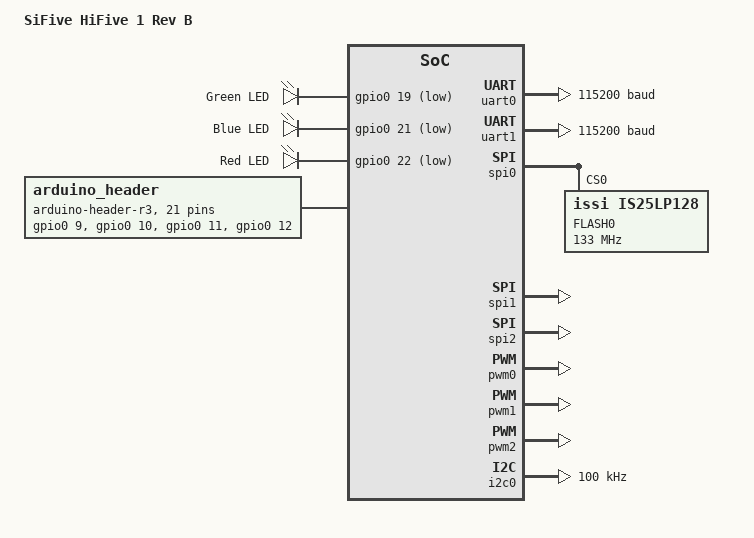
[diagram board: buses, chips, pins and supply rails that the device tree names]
/* Copyright (c) 2019 SiFive, Inc. */
/* SPDX-License-Identifier: Apache-2.0 */

/dts-v1/;

#include <sifive/riscv32-fe310.dtsi>
#include <zephyr/dt-bindings/i2c/i2c.h>
#include "hifive1_revb-pinctrl.dtsi"

/ {
	model = "SiFive HiFive 1 Rev B";
	compatible = "sifive,hifive1-revb";

	aliases {
		led0 = &led0;
		led1 = &led1;
		led2 = &led2;
		watchdog0 = &wdog0;
	};

	chosen {
		zephyr,console = &uart0;
		zephyr,shell-uart = &uart0;
		zephyr,sram = &dtim;
		zephyr,flash = &flash0;
	};

	leds {
		compatible = "gpio-leds";
		led0: led_0 {
			gpios = <&gpio0 19 GPIO_ACTIVE_LOW>;
			label = "Green LED";
		};
		led1: led_1 {
			gpios = <&gpio0 21 GPIO_ACTIVE_LOW>;
			label = "Blue LED";
		};
		led2: led_2 {
			gpios = <&gpio0 22 GPIO_ACTIVE_LOW>;
			label = "Red LED";
		};
	};

	arduino_header: connector {
		compatible = "arduino-header-r3";
		#gpio-cells = <2>;
		gpio-map-mask = <0xffffffff 0xffffffc0>;
		gpio-map-pass-thru = <0 0x3f>;
		gpio-map = /* A0 not connected */
			   <1 0 &gpio0 9 0>,	/* A1, also CS2 */
			   <2 0 &gpio0 10 0>,	/* A2, also WF_INT */
			   <3 0 &gpio0 11 0>,	/* A3 */
			   <4 0 &gpio0 12 0>,	/* A4 */
			   <5 0 &gpio0 13 0>,	/* A5 */
			   <6 0 &gpio0 16 0>,	/* D0, also TX */
			   <7 0 &gpio0 17 0>,	/* D1, also RX */
			   <8 0 &gpio0 18 0>,	/* D2 */
			   <9 0 &gpio0 19 0>,	/* D3 */
			   <10 0 &gpio0 20 0>,	/* D4 */
			   <11 0 &gpio0 21 0>,	/* D5 */
			   <12 0 &gpio0 22 0>,	/* D6 */
			   <13 0 &gpio0 23 0>,	/* D7 */
			   <14 0 &gpio0 0 0>,	/* D8 */
			   <15 0 &gpio0 1 0>,	/* D9 */
			   <16 0 &gpio0 2 0>,	/* D10 */
			   <17 0 &gpio0 3 0>,	/* D11, also MOSI */
			   <18 0 &gpio0 4 0>,	/* D12, also MISO */
			   <19 0 &gpio0 5 0>,	/* D13, also SCK */
			   <20 0 &gpio0 12 0>,	/* D14, also SDA */
			   <21 0 &gpio0 13 0>;	/* D15, also SCL */
	};
};

&coreclk {
	clock-frequency = <DT_FREQ_M(16)>;
	status = "okay";
};

&gpio0 {
	status = "okay";
};

&uart0 {
	status = "okay";
	current-speed = <115200>;
	pinctrl-0 = <&uart0_rx_default &uart0_tx_default>;
	pinctrl-names = "default";
};

&uart1 {
	status = "okay";
	current-speed = <115200>;
};

&spi0 {
	status = "okay";

	reg = <0x10014000 0x1000 0x20010000 0x3c0900>;
	flash0: flash@0 {
		compatible = "issi,is25lp128", "jedec,spi-nor";
		size = <134217728>;
		label = "FLASH0";
		jedec-id = [96 60 18];
		reg = <0>;
		spi-max-frequency = <133000000>;
	};
};

&spi1 {
	status = "okay";
	pinctrl-0 = <&spi1_cs0_default
		     &spi1_mosi_default
		     &spi1_miso_default
		     &spi1_sck_default>;
	pinctrl-names = "default";
};

&spi2 {
	status = "okay";
	pinctrl-0 = <&spi1_cs2_default
		     &spi1_mosi_default
		     &spi1_miso_default
		     &spi1_sck_default>;
	pinctrl-names = "default";
};

&pwm0 {
	status = "okay";
};

&pwm1 {
	status = "okay";
};

&pwm2 {
	status = "okay";
};

arduino_i2c: &i2c0 {
	status = "okay";
	label = "I2C_0";
	clock-frequency = <100000>;
	pinctrl-0 = <&i2c0_0_default &i2c0_1_default>;
	pinctrl-names = "default";
};
